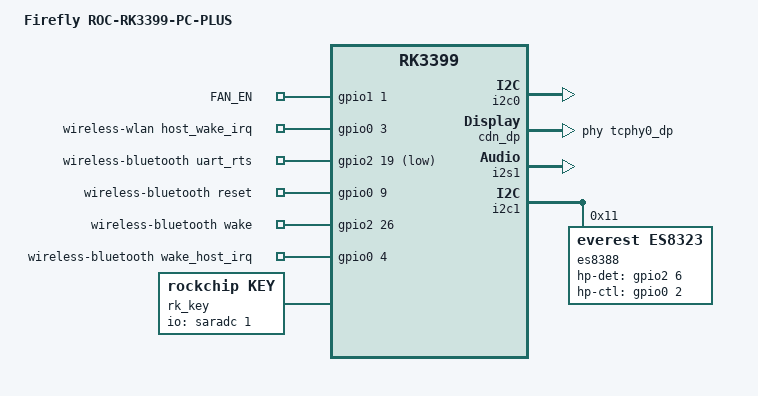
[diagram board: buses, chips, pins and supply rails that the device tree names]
/dts-v1/;

#include "rk3399-roc-pc.dtsi"

/ {
	model = "Firefly ROC-RK3399-PC-PLUS";
	compatible = "firefly,roc-rk3399-pc", "rockchip,rk3399";
	/delete-node/ external-gmac-clock;

	es8388-sound {
		status = "okay";
		compatible = "simple-audio-card";
		simple-audio-card,format = "i2s";
		simple-audio-card,name = "rockchip,es8388-codec";
		simple-audio-card,mclk-fs = <256>;
		simple-audio-card,cpu {
			sound-dai = <&i2s1>;
			system-clock-frequency = <11289600>;
		};
		simple-audio-card,codec {
			sound-dai = <&es8388>;
			system-clock-frequency = <11289600>;
		};
	};
	/delete-node/ vcc_hub_en-regulator;

	leds {
		compatible = "gpio-leds";

		FAN_EN {
			//fan power
			gpios = <&gpio1 1 GPIO_ACTIVE_HIGH>;	//GPIO1_A1
			default-state = "on";
		};
	};

	wireless-wlan {
		compatible = "wlan-platdata";
		rockchip,grf = <&grf>;
		wifi_chip_type = "ap6356s";
		sdio_vref = <1800>;
		WIFI,host_wake_irq = <&gpio0 3 GPIO_ACTIVE_HIGH>; /* GPIO0_a3 */
		status = "okay";
	};

	wireless-bluetooth {
		compatible = "bluetooth-platdata";
		clocks = <&rk808 1>;
		clock-names = "ext_clock";
		//wifi-bt-power-toggle;
		uart_rts_gpios = <&gpio2 19 GPIO_ACTIVE_LOW>; /* GPIO2_C3 */
		pinctrl-names = "default", "rts_gpio";
		pinctrl-0 = <&uart0_rts>;
		pinctrl-1 = <&uart0_gpios>;
		//BT,power_gpio  = <&gpio3 19 GPIO_ACTIVE_HIGH>; /* GPIOx_xx */
		BT,reset_gpio    = <&gpio0 9 GPIO_ACTIVE_HIGH>; /* GPIO0_B1 */
		BT,wake_gpio     = <&gpio2 26 GPIO_ACTIVE_HIGH>; /* GPIO2_D2 */
		BT,wake_host_irq = <&gpio0 4 GPIO_ACTIVE_HIGH>; /* GPIO0_A4 */
		status = "okay";
	};

	rk_key: rockchip-key {
		compatible = "rockchip,key";
		io-channels = <&saradc 1>;
		status = "okay";

		power-key {
			gpios = <&gpio0 5 GPIO_ACTIVE_LOW>;
			linux,code = <116>;
			label = "power";
			gpio-key,wakeup;
			status = "disabled";
		};

		recovery-key {
			linux,code = <113>;
			label = "F12";
			rockchip,adc_value = <4>;
		};
	};

};

&gmac {
	clock_in_out = "output";
	clk_alway_enable = "true";
	assigned-clocks = <&cru SCLK_MAC>, <&cru SCLK_RMII_SRC>;
	assigned-clock-rates = <0>, <125000000>;
	assigned-clock-parents = <&cru PLL_NPLL>, <&cru SCLK_MAC>;
	tx_delay = <0x2E>;
	rx_delay = <0x23>;
};

&cru {
	assigned-clock-rates =
		 <75000000>, <50000000>,
		 <50000000>, <50000000>,
		 <50000000>, <100000000>,
		 <50000000>, <150000000>,
		 <150000000>, <150000000>,
		 <50000000>, <150000000>,
		 <50000000>, <100000000>,
		 <75000000>, <75000000>,
		 <816000000>, <816000000>,
		 <500000000>, <200000000>,
		 <800000000>, <150000000>,
		 <75000000>, <37500000>,
		 <300000000>, <100000000>,
		 <50000000>, <100000000>,
		 <50000000>, <100000000>,
		 <100000000>, <100000000>,
		 <100000000>, <100000000>,
		 <100000000>, <50000000>,
		 <50000000>, <50000000>,
		 <50000000>, <50000000>,
		 <200000000>, <400000000>,
		 <400000000>, <100000000>,
		 <100000000>, <100000000>,
		 <400000000>, <400000000>,
		 <200000000>, <100000000>,
		 <200000000>, <200000000>,
		 <100000000>, <400000000>,
		 <400000000>, <400000000>,
		 <400000000>, <300000000>,
		 <400000000>, <200000000>,
		 <400000000>, <300000000>,
		 <300000000>, <300000000>,
		 <300000000>, <600000000>,/* aclk_cci */
		 <100000000>, <150000000>,
		 <150000000>, <400000000>,
		 <100000000>, <400000000>,
		 <100000000>;
};

// /* RTC */

&rk808{
	rtc {
		status = "disabled";
	};
};

&i2c0 {
	status = "okay";

	hym8563_pro: hym8563_pro@51 {
		compatible = "haoyu,hym8563";
		reg = <0x51>;
		interrupt-parent = <&gpio1>;
		interrupts = <3 IRQ_TYPE_EDGE_FALLING>;
		status = "disabled";
	};

	hym8563_plus: hym8563_plus@51 {
		compatible = "haoyu,hym8563";
		reg = <0x51>;
		interrupt-parent = <&gpio0>;
		interrupts = <5 IRQ_TYPE_EDGE_FALLING>;
		status = "disabled";
	};
};


&i2c4 {
	/delete-node/ fusb30x@22;
};

&fusb0 {
	fusb302,role = "ROLE_MODE_DFP";
	vbus-5v-gpios = <&gpio1 13 GPIO_ACTIVE_HIGH>;
};

&cdn_dp {
	status = "okay";
	extcon = <&fusb0>;
	phys = <&tcphy0_dp>;
};

&tcphy1 {
	/delete-property/ extcon;
};

&u2phy1 {
	/delete-property/ extcon;
};

&usbdrd3_1 {
	/delete-property/ extcon;
};

&i2s1 {
	status = "okay";
};

&dmc {
	status = "disabled";
};

&rk808 {
	/delete-property/ pmic,hold-gpio;
};

&i2c1 {
	status = "okay";
	es8388: es8388@11 {
		compatible = "everest,es8323";
		status = "okay";
		reg = <0x11>;
		hp-det-gpio = <&gpio2 6 GPIO_ACTIVE_HIGH>;
		hp-ctl-gpio = <&gpio0 2 GPIO_ACTIVE_HIGH>;
		clock-names = "mclk";
		clocks = <&cru SCLK_I2S_8CH_OUT>;
		pinctrl-names = "default";
		pinctrl-0 = <&i2s_8ch_mclk>;
		pinctrl-1 = <&ear_ctl_h>;
		#sound-dai-cells = <0>;
	};
};

&vcc_wifi {
	gpio = <&gpio2 4 GPIO_ACTIVE_HIGH>;
	pinctrl-names = "default";
	pinctrl-0 = <&vcc_wifi_h>;
};

&vcc_wifi_h {
	rockchip,pins = <2 4 RK_FUNC_GPIO &pcfg_pull_none>;
};

&pinctrl {
	es8388-pins {
		ear_ctl_h: ear-ctl-h {
            rockchip,pins =
				<0 2 RK_FUNC_GPIO &pcfg_pull_down>;
        };
	};

	wireless-bluetooth {
		uart0_gpios: uart0-gpios {
			rockchip,pins =
				<2 19 RK_FUNC_GPIO &pcfg_pull_none>;
		};
	};

};


&vcc5v0_host {
	/delete-property/ regulator-always-on;
};


/*
&fusb0 {
	status = "disabled";
};


&fusb1 {
	status = "disabled";
};
*/

&pcie0 {
	ep-gpios = <&gpio4 RK_PD1 GPIO_ACTIVE_HIGH>;
	pinctrl-0 = <&pcie_clkreqnb_cpm>;
	/delete-property/ vpcie3v3-supply;
};
